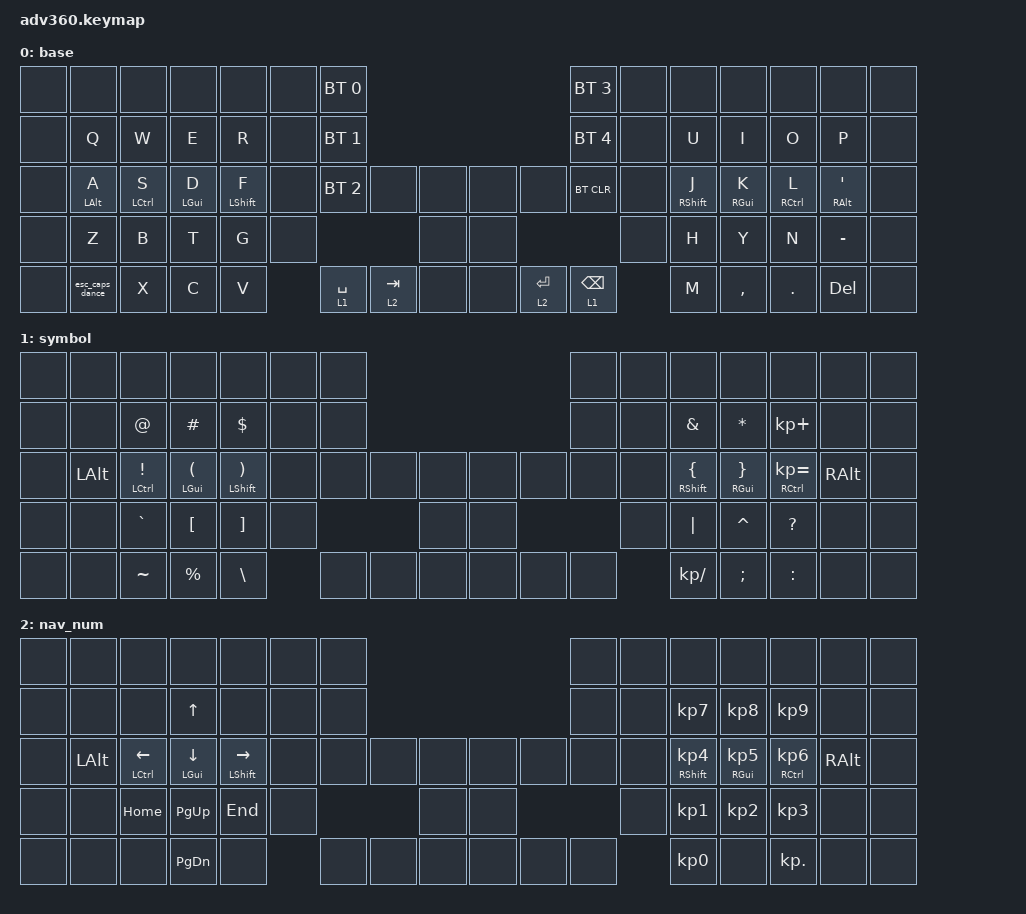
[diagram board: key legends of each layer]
#include <behaviors.dtsi>
#include <dt-bindings/zmk/bt.h>
#include <dt-bindings/zmk/keys.h>
#include <dt-bindings/zmk/outputs.h>

&lt { flavor = "tap-unless-interrupted"; };

/ {
    behaviors {
        #include "macros.dtsi"
      #include "version.dtsi"
      #ifndef VERSION_MACRO

        macro_ver: macro_ver {
            compatible = "zmk,behavior-macro";
            label = "macro_version";
            #binding-cells = <0>;
            bindings = <&kp RET>;
        };

        #endif

        hml: homerow_mod_lt {
            compatible = "zmk,behavior-hold-tap";
            label = "HOMEROW_MOD_LT";
            #binding-cells = <2>;
            bindings = <&kp>, <&kp>;

            tapping-term-ms = <1000>;
            flavor = "balanced";
            hold-trigger-key-positions = <7 8 9 10 11 12 13 21 22 23 24 25 26 27 39 40 41 42 43 44 45 54 55 56 57 58 59 71 72 73 74 75 37 38 53 68 69 70>;
            hold-trigger-on-release;
        };

        hmr: homerow_mod_rt {
            compatible = "zmk,behavior-hold-tap";
            label = "HOMEROW_MOD_RT";
            #binding-cells = <2>;
            bindings = <&kp>, <&kp>;

            tapping-term-ms = <1000>;
            flavor = "balanced";
            hold-trigger-key-positions = <0 1 2 3 4 5 6 14 15 16 17 18 19 20 28 29 30 31 32 33 34 35 36 46 47 48 49 50 51 52 60 61 62 63 64 65 66 67>;
            hold-trigger-on-release;
        };

        esc_caps_dance: esc_caps_dance {
            compatible = "zmk,behavior-tap-dance";
            label = "ESC_CAPS_DANCE";
            #binding-cells = <0>;
            bindings = <&kp ESCAPE>, <&kp CAPSLOCK>;
        };

        bt_usb_clr: bt_usb_clr {
            compatible = "zmk,behavior-hold-tap";
            label = "BT_USB_CLR";
            #binding-cells = <2>;
            tapping-term-ms = <5000>;
            bindings = <&bt>, <&out>;

            flavor = "tap-preferred";
        };
    };

    macros {
    };

    keymap {
        compatible = "zmk,keymap";

        base {
            bindings = <
&none  &none            &none                &none            &none              &none  &bt BT_SEL 0                                            &bt BT_SEL 3     &none  &none               &none             &none                 &none                      &none
&none  &kp Q            &kp W                &kp E            &kp R              &none  &bt BT_SEL 1                                            &bt BT_SEL 4     &none  &kp U               &kp I             &kp O                 &kp P                      &none
&none  &hml LEFT_ALT A  &hml LEFT_CONTROL S  &hml LEFT_GUI D  &hml LEFT_SHIFT F  &none  &bt BT_SEL 2  &none      &none      &none  &none        &bt BT_CLR       &none  &hmr RIGHT_SHIFT J  &hmr RIGHT_GUI K  &hmr RIGHT_CONTROL L  &hmr RIGHT_ALT APOSTROPHE  &none
&none  &kp Z            &kp B                &kp T            &kp G              &none                           &none      &none                                &none  &kp H               &kp Y             &kp N                 &kp MINUS                  &none
&none  &esc_caps_dance  &kp X                &kp C            &kp V                     &lt 1 SPACE   &lt 2 TAB  &none      &none  &lt 2 ENTER  &lt 1 BACKSPACE         &kp M               &kp COMMA         &kp DOT               &kp DEL                    &none
            >;
        };

        symbol {
            bindings = <
&none  &none         &none                          &none                           &none                              &none  &none                                  &none  &none  &none                        &none                       &none                        &none          &none
&none  &none         &kp AT_SIGN                    &kp POUND                       &kp DOLLAR                         &none  &none                                  &none  &none  &kp AMPERSAND                &kp ASTERISK                &kp KP_PLUS                  &none          &none
&none  &kp LEFT_ALT  &hml LEFT_CONTROL EXCLAMATION  &hml LEFT_GUI LEFT_PARENTHESIS  &hml LEFT_SHIFT RIGHT_PARENTHESIS  &none  &none  &none  &none      &none  &none  &none  &none  &hmr RIGHT_SHIFT LEFT_BRACE  &hmr RIGHT_GUI RIGHT_BRACE  &hmr RIGHT_CONTROL KP_EQUAL  &kp RIGHT_ALT  &none
&none  &none         &kp GRAVE                      &kp LEFT_BRACKET                &kp RIGHT_BRACKET                  &none                &none      &none                &none  &kp PIPE                     &kp CARET                   &kp QUESTION                 &none          &none
&none  &none         &kp TILDE                      &kp PERCENT                     &kp BACKSLASH                             &none  &none  &none      &none  &none  &none         &kp KP_SLASH                 &kp SEMICOLON               &kp COLON                    &none          &none
            >;
        };

        nav_num {
            bindings = <
&none  &none         &none                   &none               &none                  &none  &none                                  &none  &none  &none                         &none                       &none                           &none          &none
&none  &none         &none                   &kp UP              &none                  &none  &none                                  &none  &none  &kp KP_NUMBER_7               &kp KP_NUMBER_8             &kp KP_NUMBER_9                 &none          &none
&none  &kp LEFT_ALT  &hml LEFT_CONTROL LEFT  &hml LEFT_GUI DOWN  &hml LEFT_SHIFT RIGHT  &none  &none  &none  &none      &none  &none  &none  &none  &hmr RIGHT_SHIFT KP_NUMBER_4  &hmr RIGHT_GUI KP_NUMBER_5  &hmr RIGHT_CONTROL KP_NUMBER_6  &kp RIGHT_ALT  &none
&none  &none         &kp HOME                &kp PG_UP           &kp END                &none                &none      &none                &none  &kp KP_NUMBER_1               &kp KP_NUMBER_2             &kp KP_NUMBER_3                 &none          &none
&none  &none         &none                   &kp PG_DN           &none                         &none  &none  &none      &none  &none  &none         &kp KP_NUMBER_0               &none                       &kp KP_DOT                      &none          &none
            >;
        };
    };
};
